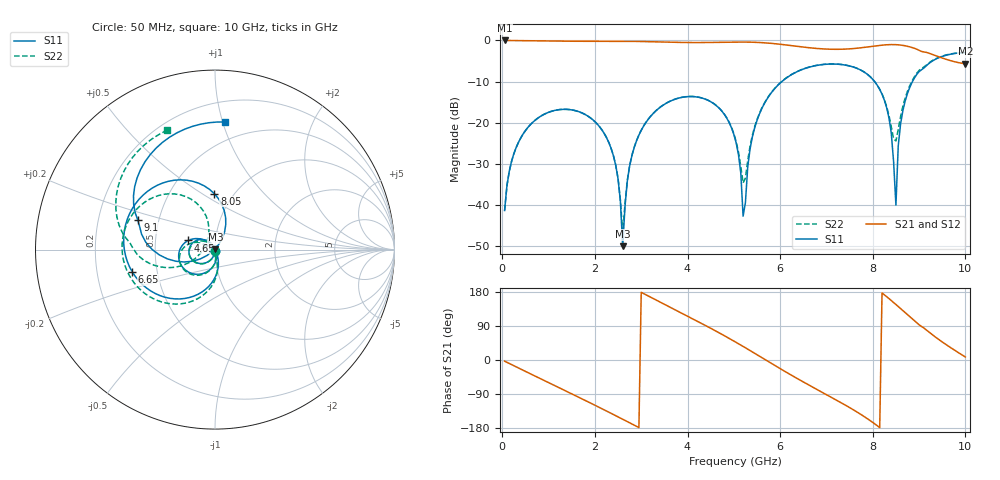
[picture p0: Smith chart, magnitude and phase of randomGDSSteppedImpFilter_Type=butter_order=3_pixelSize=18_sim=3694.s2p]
! freq	dB(S11)	phase(S11)	dB(S12)	phase(S12)
!  dB(S21)	phase(S21)	dB(S22)	phase(S22)
!S-par simulation data
#  GHz  S  DB  R 50
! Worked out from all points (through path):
!   200 points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, 50 MHz to 10 GHz, reference 50 ohm
!   highest |S21| = 0.00 dB at 50 MHz (marker M1); lowest = -5.7 dB at 10 GHz (marker M2)
!   group delay of S21, straight-line fit = 194 ps
!   lowest |S11| = -49.9 dB at 2.6 GHz (marker M3), VSWR 1.01, Z = 50.3 + j0.168 ohm
!   |S11| at or under -10 dB: start of sweep to 6.035 GHz; 8.04 GHz to 8.857 GHz (816.4 MHz wide, 9.66 % of centre)
!   |S22| runs from -46.5 to -2.9 dB; largest |S21 - S12| = 0
!   S11 on the Smith chart (normalised r, x): 50 MHz: 1.00, -0.02; 4.65 GHz: 0.74, +0.08; 6.65 GHz: 0.36, -0.11; 8.05 GHz: 0.82, +0.56; 9.1 GHz: 0.38, +0.16; 10 GHz: 0.35, +1.02
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0.05  -41.28 -92.5  -0.00 -3.1  -0.00 -3.1  -41.30 -92.4
0.2  -29.36 -101.9  -0.03 -12.1  -0.03 -12.1  -29.36 -101.5
0.55  -21.16 -123.9  -0.08 -33.1  -0.08 -33.1  -21.16 -123.0
1.75  -17.75 163.2  -0.20 -104.2  -0.20 -104.2  -17.76 167.2
2.4  -28.00 120.3  -0.18 -143.8  -0.18 -143.8  -27.99 132.8
2.6  -49.95 31.8  -0.19 -156.3  -0.19 -156.3  -46.53 -162.6
2.8  -27.91 -77.4  -0.22 -168.8  -0.22 -168.8  -27.85 -84.0
3.4  -16.30 -118.3  -0.37 153.4  -0.37 153.4  -16.28 -116.0
4.65  -16.10 161.0  -0.46 73.9  -0.46 73.9  -16.07 170.5
5.05  -24.86 133.9  -0.39 46.5  -0.39 46.5  -24.58 155.0
5.2  -42.66 132.6  -0.39 35.8  -0.39 35.8  -34.58 -162.4
5.35  -26.37 -70.7  -0.41 25.0  -0.41 25.0  -25.68 -82.7
5.6  -16.63 -88.5  -0.53 6.6  -0.53 6.6  -16.50 -87.4
6.65  -6.42 -165.0  -1.80 -68.1  -1.80 -68.1  -6.38 -154.5
6.7  -6.28 -168.5  -1.86 -71.5  -1.86 -71.5  -6.25 -157.7
8.05  -10.13 90.7  -1.35 -169.2  -1.35 -169.2  -10.12 115.5
8.35  -18.83 61.9  -1.02 162.1  -1.02 162.1  -18.23 105.9
8.5  -39.98 -174.9  -1.02 146.4  -1.02 146.4  -24.40 168.6
8.55  -25.59 -143.2  -1.06 141.0  -1.06 141.0  -21.60 -166.1
8.65  -17.04 -152.7  -1.20 130.2  -1.20 130.2  -15.98 -153.3
9.1  -6.73 159.0  -2.80 84.7  -2.80 84.7  -6.48 175.7
10  -2.94 85.5  -5.67 7.9  -5.67 7.9  -2.90 111.8
